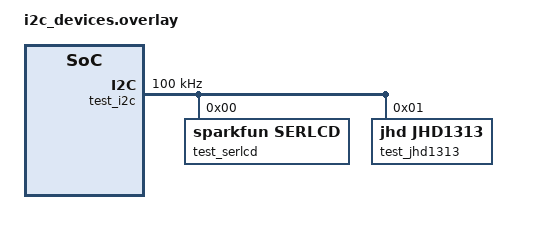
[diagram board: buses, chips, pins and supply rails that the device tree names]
/*
 * Copyright (c) 2024 TOKITA Hiroshi
 * SPDX-License-Identifier: Apache-2.0
 */

/ {
	test {
		#address-cells = <1>;
		#size-cells = <1>;

		test_gpio: gpio@deadbeef {
			compatible = "vnd,gpio";
			reg = <0xdeadbeef 0x1000>;
			gpio-controller;
			#gpio-cells = <0x2>;
			status = "okay";
		};

		test_i2c: i2c@11112222 {
			compatible = "vnd,i2c";
			reg = <0x11112222 0x1000>;
			#address-cells = <1>;
			#size-cells = <0>;
			clock-frequency = <100000>;
			status = "okay";

			test_serlcd: serlcd@0 {
				compatible = "sparkfun,serlcd";
				reg = <0x0>;
				columns = <16>;
				rows = <2>;
				command-delay-ms = <10>;
				special-command-delay-ms = <50>;
				status = "okay";
			};

			test_jhd1313: jhd1313@0 {
				compatible = "jhd,jhd1313";
				reg = <0x1>;
				columns = <16>;
				rows = <2>;
				status = "okay";
			};
		};
	};
};
